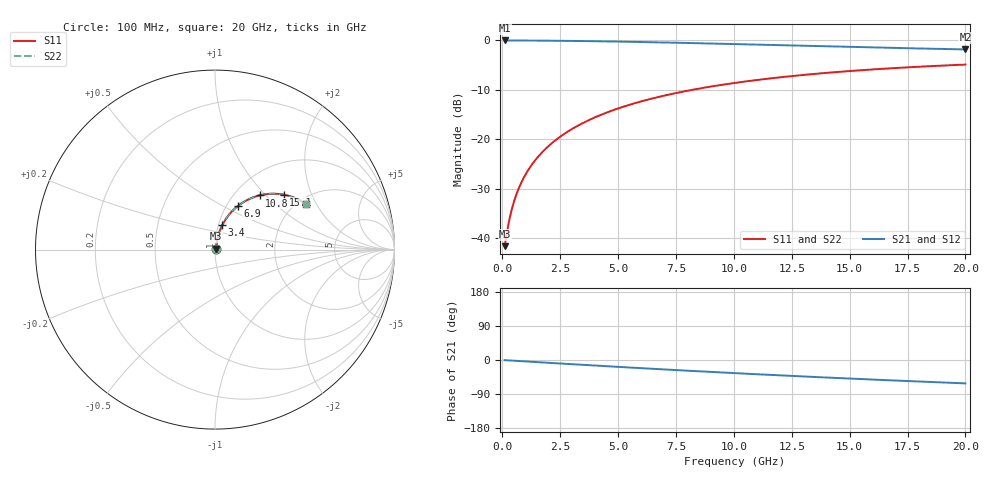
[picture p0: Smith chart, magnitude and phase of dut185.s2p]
! Touchstone file exported from HFSS 2026.1.0
!  File:  C:/ffzhzh/LocalFiles/Ansys_Project_Files/temp_train_BSMRDL_185_1782987332_41620.aedt
!  Generated:  06:17:57 PM Jul  2, 2026
!  Design:  BSMRDL
!  Project:  temp_train_BSMRDL_185_1782987332_41620
! Variables:
!  h_bsmrdl = 4.01um
!  h_ox = 20um
!  h_rdl = 5um
!  h_sub = 80um
!  h_tmrdl = 5um
!  h_tsv = 80um
!  h_via = 3um
!  l_bsmrdl = 960.15um
!  l_sub = 1360.15um
!  l_tmrdl = 200um
!  m_sub = 200um
!  pitch = 39.41um
!  r_tsv = 6um
!  s_tmrdl = 10um
!  w_bsmrdl = 12.07um
!  w_sub = 500um
!  w_tmrdl = 12um
!  x_tsv_center1 = 206um
!  x_tsv_center2 = 1178.22um
!  x_tsv_center3 = 1390.22um
!  x_tsv_center4 = 2362.44um
!  x_tsv_center5 = 2574.44um
!  x_tsv_center6 = 3546.66um
# GHz S MA R 50.000000
! Terminal data exported
! Port[1] = BSM_RDL1_1_T1
! Port[2] = BSM_RDL1_1_T2
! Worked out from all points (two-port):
!   200 points, 100 MHz to 20 GHz, reference 50 ohm
!   highest |S21| = -0.06 dB at 100 MHz (marker M1); lowest = -1.9 dB at 20 GHz (marker M2)
!   |S21| within 3 dB of the highest: start of sweep to end of sweep
!   lowest |S11| = -41.6 dB at 100 MHz (marker M3), VSWR 1.02, Z = 50.7 + j0.451 ohm
!   |S11| at or under -10 dB: start of sweep to 8.244 GHz
!   |S22| runs from -41.6 to -4.9 dB; largest |S21 - S12| = 5e-15
!   S11 on the Smith chart (normalised r, x): 100 MHz: 1.01, +0.01; 3.4 GHz: 1.04, +0.29; 6.9 GHz: 1.13, +0.59; 10.8 GHz: 1.29, +0.92; 15.1 GHz: 1.60, +1.29; 20 GHz: 2.20, +1.65
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0.1  0.0083 32.4  0.993 -0.4  0.993 -0.4  0.0083 32.4
! Gamma 0 0 0 0
! Port Impedance 50 0 50 0
0.3  0.01518 60.3  0.9927 -1.1  0.9927 -1.1  0.01518 60.3
0.4  0.01915 65.7  0.9924 -1.5  0.9924 -1.5  0.01915 65.7
0.5  0.0232 69.1  0.9922 -1.9  0.9922 -1.9  0.0232 69.1
0.6  0.02729 71.3  0.992 -2.3  0.992 -2.3  0.02729 71.3
0.8  0.03552 74.1  0.9915 -3.0  0.9915 -3.0  0.03552 74.1
1.1  0.04794 76.1  0.9907 -4.1  0.9907 -4.1  0.04794 76.1
1.5  0.06457 76.9  0.9895 -5.6  0.9895 -5.6  0.06457 76.9
2  0.0853 76.7  0.9876 -7.4  0.9876 -7.4  0.0853 76.7
2.6  0.11 75.6  0.9847 -9.6  0.9847 -9.6  0.11 75.5
3.4  0.1423 73.5  0.9798 -12.5  0.9798 -12.5  0.1423 73.5
3.5  0.1462 73.2  0.9792 -12.9  0.9792 -12.9  0.1462 73.2
5  0.2042 68.6  0.9673 -18.2  0.9673 -18.2  0.2042 68.5
6.8  0.2688 62.8  0.9497 -24.3  0.9497 -24.3  0.2688 62.8
6.9  0.2722 62.5  0.9486 -24.6  0.9486 -24.6  0.2722 62.5
8.4  0.3211 57.8  0.9321 -29.5  0.9321 -29.5  0.3212 57.8
10.1  0.3715 52.7  0.9122 -34.9  0.9122 -34.9  0.3716 52.6
10.8  0.3907 50.6  0.9039 -37.0  0.9039 -37.0  0.3908 50.6
13.4  0.4543 43.3  0.8733 -44.6  0.8733 -44.6  0.4543 43.2
15.1  0.4895 38.7  0.8541 -49.2  0.8541 -49.2  0.4896 38.7
16.7  0.5185 34.6  0.8371 -53.5  0.8371 -53.5  0.5185 34.6
20  0.5666 26.6  0.8061 -61.7  0.8061 -61.7  0.5666 26.5
